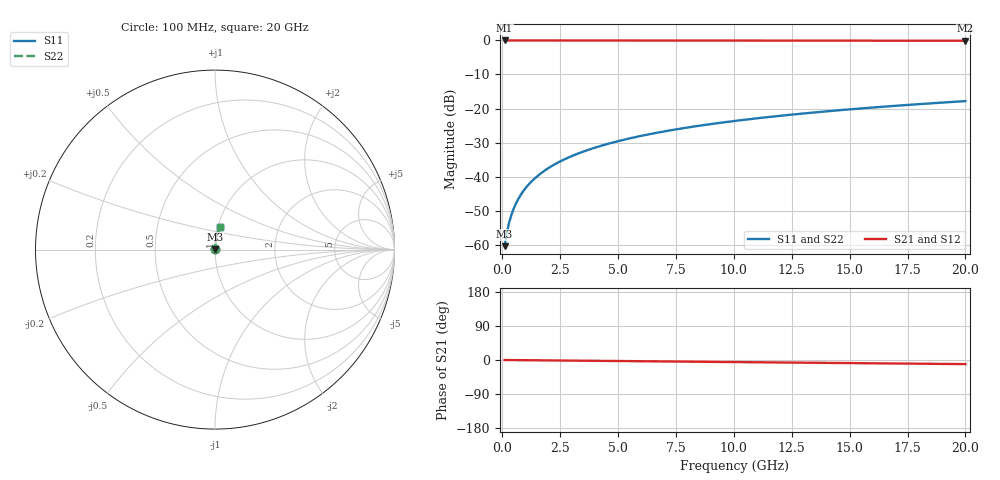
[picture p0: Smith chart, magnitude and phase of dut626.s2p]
! Touchstone file exported from HFSS 2026.1.0
!  File:  C:/ffzhzh/LocalFiles/Ansys_Project_Files/temp_train_TSV_626_1783026094_53980.aedt
!  Generated:  05:04:21 AM Jul  3, 2026
!  Design:  TSV
!  Project:  temp_train_TSV_626_1783026094_53980
! Variables:
!  h_bsmrdl = 2um
!  h_ox = 20um
!  h_rdl = 5um
!  h_sub = 70.99um
!  h_tmrdl = 5um
!  h_tsv = 70.99um
!  h_via = 3um
!  l_bsmrdl = 300um
!  l_sub = 407.14um
!  l_tmrdl = 200um
!  m_sub = 200um
!  pitch = 58.41um
!  r_tsv = 3.57um
!  s_tmrdl = 10um
!  w_bsmrdl = 18um
!  w_sub = 500um
!  w_tmrdl = 12um
!  x_tsv_center1 = 206um
!  x_tsv_center2 = 524um
!  x_tsv_center3 = 736um
!  x_tsv_center4 = 1054um
!  x_tsv_center5 = 1266um
!  x_tsv_center6 = 1584um
# GHz S MA R 50.000000
! Terminal data exported
! Port[1] = TSV1_1_T1
! Port[2] = TSV1_1_T2
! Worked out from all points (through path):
!   200 points, 100 MHz to 20 GHz, reference 50 ohm
!   highest |S21| = -0.01 dB at 100 MHz (marker M1); lowest = -0.1 dB at 20 GHz (marker M2)
!   group delay of S21, straight-line fit = 1.5 ps
!   lowest |S11| = -60.4 dB at 100 MHz (marker M3), VSWR 1.00, Z = 50.1 + j0.0682 ohm
!   |S11| at or under -10 dB: start of sweep to end of sweep
!   |S22| runs from -60.4 to -17.8 dB; largest |S21 - S12| = 4.1e-15
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0.1  0.0009528 45.6  0.9993 -0.1  0.9993 -0.1  0.0009528 45.6
! Gamma 0 0 0 0
! Port Impedance 50 0 50 0
0.2  0.001517 63.5  0.9993 -0.1  0.9993 -0.1  0.001517 63.5
0.3  0.002144 71.3  0.9993 -0.2  0.9993 -0.2  0.002144 71.3
0.4  0.00279 75.4  0.9993 -0.2  0.9993 -0.2  0.00279 75.4
0.5  0.003444 78.0  0.9993 -0.3  0.9993 -0.3  0.003444 78.0
0.7  0.004762 81.0  0.9993 -0.4  0.9993 -0.4  0.004762 81.0
0.8  0.005424 81.9  0.9993 -0.4  0.9993 -0.4  0.005424 81.9
1  0.006751 83.2  0.9992 -0.6  0.9992 -0.6  0.006751 83.2
1.2  0.00808 84.1  0.9992 -0.7  0.9992 -0.7  0.00808 84.1
1.4  0.009411 84.6  0.9992 -0.8  0.9992 -0.8  0.009411 84.6
1.7  0.01141 85.1  0.9991 -0.9  0.9991 -0.9  0.01141 85.1
2  0.0134 85.4  0.9991 -1.1  0.9991 -1.1  0.0134 85.4
2.7  0.01805 85.7  0.999 -1.5  0.999 -1.5  0.01805 85.7
3.5  0.02334 85.7  0.9987 -1.9  0.9987 -1.9  0.02334 85.7
4.2  0.02795 85.5  0.9985 -2.3  0.9985 -2.3  0.02795 85.5
5  0.03319 85.2  0.9983 -2.8  0.9983 -2.8  0.03319 85.2
6.8  0.0449 84.4  0.9976 -3.7  0.9976 -3.7  0.0449 84.4
8.3  0.05458 83.8  0.9969 -4.6  0.9969 -4.6  0.05458 83.8
10.1  0.06613 82.9  0.996 -5.5  0.996 -5.5  0.06613 82.9
13.4  0.08715 81.3  0.9941 -7.3  0.9941 -7.3  0.08715 81.3
16.7  0.1079 79.7  0.9918 -9.1  0.9918 -9.1  0.1079 79.7
20  0.1285 78.0  0.9892 -10.8  0.9892 -10.8  0.1285 78.0
